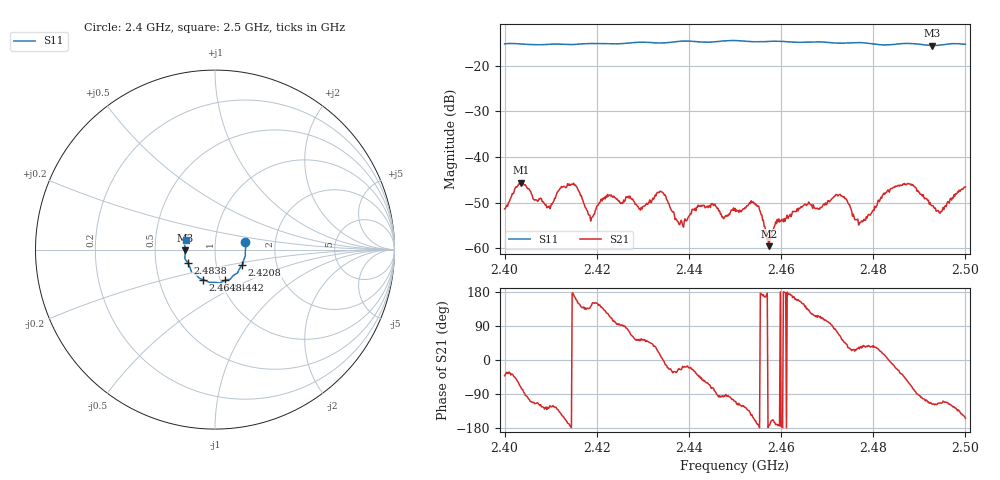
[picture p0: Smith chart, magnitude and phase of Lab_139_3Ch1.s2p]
# Hz S RI R 50
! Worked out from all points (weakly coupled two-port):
!   601 points, 2.4 GHz to 2.5 GHz, reference 50 ohm
!   highest |S21| = -45.59 dB at 2.4035 GHz (marker M1); lowest = -59.5 dB at 2.4573 GHz (marker M2)
!   lowest |S11| = -15.6 dB at 2.4928 GHz (marker M3), VSWR 1.40, Z = 35.8 - j0.369 ohm
!   |S11| at or under -10 dB: start of sweep to end of sweep
!   S12 and S22 are empty: the file has one direction only
!   S11 on the Smith chart (normalised r, x): 2.4 GHz: 1.40, +0.12; 2.4208 GHz: 1.33, -0.24; 2.4442 GHz: 1.05, -0.37; 2.4648 GHz: 0.83, -0.29; 2.4838 GHz: 0.73, -0.11; 2.5 GHz: 0.72, +0.08
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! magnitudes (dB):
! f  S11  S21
! 2.4 GHz  -15.2  -51.3
! 2.4035 GHz  -15.3  -45.6
! 2.4095 GHz  -15.3  -50.9
! 2.4142 GHz  -15.4  -46.2
! 2.4167 GHz  -15.3  -48.4
! 2.4187 GHz  -15.2  -54.0
! 2.4208 GHz  -15.2  -49.5
! 2.4297 GHz  -14.9  -51.0
! 2.4333 GHz  -15.0  -47.7
! 2.4383 GHz  -14.7  -53.8
! 2.4442 GHz  -14.9  -51.0
! 2.45 GHz  -14.5  -51.2
! 2.4547 GHz  -14.8  -50.5
! 2.4573 GHz  -14.7  -59.5
! 2.4648 GHz  -14.9  -50.6
! 2.4667 GHz  -14.8  -50.4
! 2.4732 GHz  -15.1  -48.5
! 2.4773 GHz  -15.0  -54.2
! 2.4833 GHz  -15.5  -47.2
! 2.4838 GHz  -15.4  -46.9
! 2.4928 GHz  -15.6  -50.7
! 2.5 GHz  -15.3  -46.6
